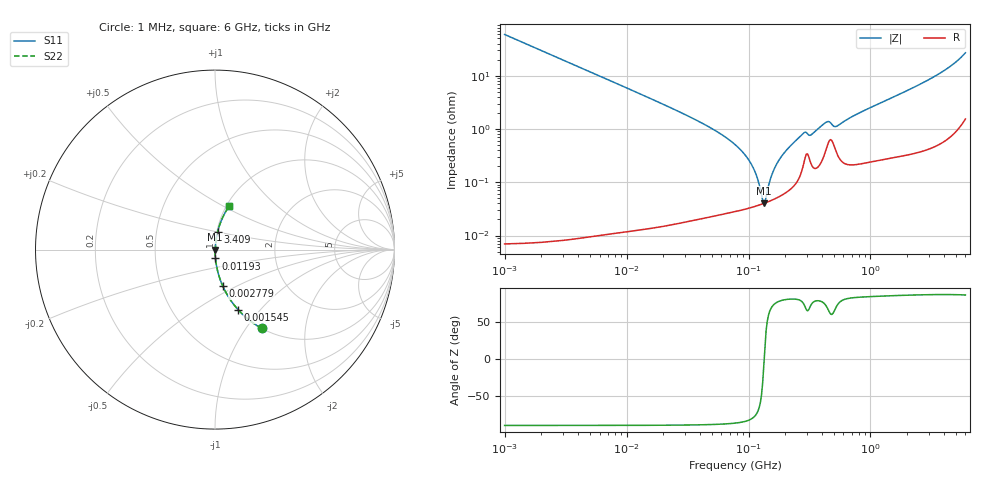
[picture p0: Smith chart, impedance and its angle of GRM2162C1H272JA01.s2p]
!Murata Part Number: GRM2162C1H272JA01
!These Parameters are Measured in Series Mode Connection
!Data Generated on Mar 30, 2021
!  o--ll--o
!Port1  Port2
!  o------o
!Operation Temp=25[degC], DC Bias Voltage=0[V]
!Freq. Start=1000[kHz] Stop=6[GHz] 401[Steps]
# Hz S RI R 50
!Freq.(Hz) S11(Real) S11(Imag) S21(Real) S21(Imag) S12(Real) S12(Imag) S22(Real) S22(Imag)
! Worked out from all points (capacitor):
!   401 points, 1 MHz to 6 GHz, reference 50 ohm
!   read as one part in series: C = 2.68 nF near 1.044 MHz
!   lowest |Z| = 40.4 mohm at 133.4 MHz (marker M1)
!   series resonance near 134.3 MHz, so ESL is about 520 pH
!   S11 on the Smith chart (normalised r, x): 1 MHz: 1.00, -1.19; 1.545 MHz: 1.00, -0.77; 2.779 MHz: 1.00, -0.43; 11.93 MHz: 1.00, -0.10; 3.409 GHz: 1.01, +0.20; 6 GHz: 1.03, +0.54
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1000000  0.2612 -0.4392  0.7388 0.4392  0.7388 0.4392  0.2612 -0.4392
1544926  0.129 -0.3351  0.871 0.3351  0.871 0.3351  0.129 -0.3351
2779283  0.0438 -0.2044  0.9562 0.2044  0.9562 0.2044  0.0438 -0.2044
4293785  0.0189 -0.1357  0.9811 0.1357  0.9811 0.1357  0.0189 -0.1357
1.193364e7  0.00256 -0.0492  0.9974 0.0492  0.9974 0.0492  0.00256 -0.0492
1.843659e7  0.00114 -0.0315  0.9989 0.0315  0.9989 0.0315  0.00114 -0.0315
4.596069e7  0.000347 -0.0114  0.9997 0.0114  0.9997 0.0114  0.000347 -0.0114
7.745967e7  0.000306 -0.0051  0.9997 0.0051  0.9997 0.0051  0.000306 -0.0051
1.073387e8  0.000344 -0.00199  0.9997 0.00199  0.9997 0.00199  0.000344 -0.00199
1.170949e8  0.000362 -0.00121  0.9996 0.00121  0.9996 0.00121  0.000362 -0.00121
1.277378e8  0.000386 -0.000442  0.9996 0.000442  0.9996 0.000442  0.000386 -0.000442
1.334167e8  0.0004 -5.67e-05  0.9996 5.67e-05  0.9996 5.67e-05  0.0004 -5.67e-05
1.39348e8  0.000415 0.000329  0.9996 -0.000329  0.9996 -0.000329  0.000415 0.000329
1.622626e8  0.000484 0.0017  0.9995 -0.0017  0.9995 -0.0017  0.000484 0.0017
1.889453e8  0.000586 0.00314  0.9994 -0.00314  0.9994 -0.00314  0.000586 0.00314
2.794814e8  0.00202 0.00793  0.998 -0.00793  0.998 -0.00793  0.00202 0.00793
3.325952e8  0.00205 0.00777  0.9979 -0.00777  0.9979 -0.00777  0.00205 0.00777
4.31778e8  0.00421 0.0126  0.9958 -0.0126  0.9958 -0.0126  0.00421 0.0126
5.251325e8  0.00375 0.0105  0.9962 -0.0105  0.9962 -0.0105  0.00375 0.0105
1.428092e9  0.00412 0.0364  0.9959 -0.0364  0.9959 -0.0364  0.00412 0.0364
3.408564e9  0.0143 0.0972  0.9857 -0.0972  0.9857 -0.0972  0.0143 0.0972
6e9  0.0797 0.2437  0.9203 -0.2437  0.9203 -0.2437  0.0797 0.2437
